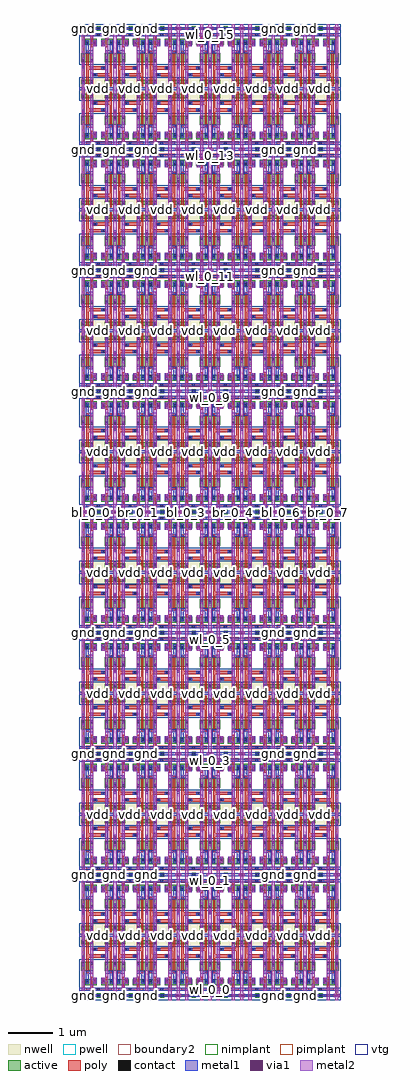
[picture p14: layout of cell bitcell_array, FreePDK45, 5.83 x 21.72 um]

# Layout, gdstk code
import gdstk
lib = gdstk.Library(unit=1e-6, precision=5e-10)
def R(c, l, rs):  # rectangles x0, y0, x1, y1
    for r in rs: c.add(gdstk.rectangle(r[:2], r[2:], *l))
def A(c, l, x, y, w, h, nx, ny, dx, dy):  # array of equal rectangles
    R(c, l, [(x+i*dx, y+j*dy, x+i*dx+w, y+j*dy+h) for i in range(nx) for j in range(ny)])
active = (1, 0)
pwell = (2, 0)
nwell = (3, 0)
nimplant = (4, 0)
pimplant = (5, 0)
vtg = (6, 0)
poly = (9, 0)
contact = (10, 0)
metal1 = (11, 0)
via1 = (12, 0)
metal2 = (13, 0)
boundary2 = (239, 0)

cell_1rw = lib.new_cell('cell_1rw')
R(cell_1rw, active, [(0.3025,-0.045,0.3925,0.045), (0.3025,-0.045,0.3925,0.045), (0.045,0.2275,0.12,0.3625), (0.045,0.2275,0.12,0.3625), (0.045,0.2275,0.305,0.3625), (0.23,0.2275,0.305,0.3625), (0.23,0.2275,0.305,0.3625), (0.4,0.2275,0.475,0.3625), (0.4,0.2275,0.475,0.3625), (0.4,0.2275,0.66,0.3625), (0.585,0.2275,0.66,0.3625), (0.585,0.2275,0.66,0.3625), (0.045,0.2875,0.12,0.3625), (0.23,0.2875,0.305,0.3625), (0.4,0.2875,0.475,0.3625), (0.585,0.2875,0.66,0.3625), (-0.04,0.5475,0.225,0.7525), (-0.035,0.5475,0.04,0.7525), (-0.035,0.5475,0.04,0.7525), (0.15,0.5475,0.225,0.7525), (0.15,0.5475,0.225,0.7525), (0.48,0.5475,0.555,0.7525), (0.48,0.5475,0.555,0.7525), (0.48,0.5475,0.745,0.7525), (0.665,0.5475,0.74,0.7525), (0.665,0.5475,0.74,0.7525), (-0.035,0.6775,0.04,0.7525), (0.15,0.6775,0.225,0.7525), (0.48,0.6775,0.555,0.7525), (0.665,0.6775,0.74,0.7525), (-0.04,1.1425,0.225,1.2325), (-0.04,1.1425,0.04,1.2175), (-0.035,1.1425,0.04,1.2325), (-0.035,1.1425,0.04,1.2325), (0.15,1.1425,0.225,1.2175), (0.15,1.1425,0.225,1.2325), (0.15,1.1425,0.225,1.2325), (0.48,1.1425,0.555,1.2175), (0.48,1.1425,0.555,1.2325), (0.48,1.1425,0.555,1.2325), (0.48,1.1425,0.745,1.2325), (0.665,1.1425,0.74,1.2325), (0.665,1.1425,0.74,1.2325), (0.665,1.1425,0.745,1.2175), (0.3025,1.3,0.3925,1.39), (0.3025,1.3,0.3925,1.39)])
R(cell_1rw, pwell, [(-0.095,-0.1,0.8,0.8075), (0.2475,-0.1,0.4475,0.1), (0.2475,-0.1,0.4475,0.1), (-0.01,0.1725,0.36,0.4175), (0.345,0.1725,0.715,0.4175), (-0.09,0.4925,0.28,0.8075), (0.425,0.4925,0.795,0.8075)])
R(cell_1rw, nwell, [(-0.095,1.0875,0.8,1.445), (-0.09,1.0875,0.28,1.2875), (0.425,1.0875,0.795,1.2875), (0.2475,1.245,0.4475,1.445), (0.2475,1.245,0.4475,1.445)])
R(cell_1rw, nimplant, [(0.045,0.2275,0.305,0.3625), (0.4,0.2275,0.66,0.3625), (-0.035,0.5475,0.225,0.7525), (0.48,0.5475,0.74,0.7525), (0.3025,1.3,0.3925,1.39), (0.3025,1.3,0.3925,1.39)])
R(cell_1rw, pimplant, [(0.3025,-0.045,0.3925,0.045), (-0.035,1.1425,0.225,1.2325), (0.48,1.1425,0.74,1.2325)])
R(cell_1rw, vtg, [(-0.09,-0.1,0.795,0.8075), (-0.01,0.1725,0.36,0.4175), (0.345,0.1725,0.715,0.4175), (-0.09,0.4925,0.28,0.8075), (0.425,0.4925,0.795,0.8075), (-0.09,1.0875,0.795,1.445), (-0.09,1.0875,0.28,1.2875), (0.425,1.0875,0.795,1.2875)])
R(cell_1rw, poly, [(0.07,0.1025,0.635,0.1775), (0.2975,0.1025,0.3725,0.1775), (0.15,0.1725,0.2,0.4175), (0.15,0.1725,0.2,0.2275), (0.505,0.1725,0.555,0.4175), (0.505,0.1725,0.555,0.2275), (0.15,0.3625,0.2,0.4175), (0.505,0.3625,0.555,0.4175), (0.07,0.4925,0.12,0.5475), (0.07,0.4925,0.12,0.8075), (0.585,0.4925,0.635,0.5475), (0.585,0.4925,0.635,0.8075), (0.07,0.7525,0.12,0.8075), (0.585,0.7525,0.635,0.8075), (0.07,0.8075,0.12,1.0875), (0.07,0.8075,0.12,1.0875), (0.585,0.8075,0.635,1.0875), (0.585,0.8075,0.635,1.0875), (0.07,0.8425,0.5025,0.9175), (0.4275,0.8425,0.5025,0.9175), (0.4275,0.8425,0.5025,0.9175), (0.2025,0.9925,0.635,1.0675), (0.2025,0.9925,0.2775,1.0675), (0.2025,0.9925,0.2775,1.0675), (0.07,1.0875,0.12,1.1425), (0.07,1.0875,0.12,1.2875), (0.585,1.0875,0.635,1.1425), (0.585,1.0875,0.635,1.2875), (0.07,1.2325,0.12,1.2875), (0.585,1.2325,0.635,1.2875)])
R(cell_1rw, contact, [(0.315,-0.0325,0.38,0.0325), (0.3025,0.1075,0.3675,0.1725), (0.05,0.2925,0.115,0.3575), (0.235,0.2925,0.3,0.3575), (0.405,0.2925,0.47,0.3575), (0.59,0.2925,0.655,0.3575), (-0.0325,0.6825,0.0325,0.7475), (0.155,0.6825,0.22,0.7475), (0.485,0.6825,0.55,0.7475), (0.6725,0.6825,0.7375,0.7475), (0.4325,0.8475,0.4975,0.9125), (0.4325,0.8475,0.4975,0.9125), (0.2075,0.9975,0.2725,1.0625), (0.2075,0.9975,0.2725,1.0625), (-0.0325,1.1475,0.0325,1.2125), (0.155,1.1475,0.22,1.2125), (0.485,1.1475,0.55,1.2125), (0.6725,1.1475,0.7375,1.2125), (0.315,1.3125,0.38,1.3775)])
R(cell_1rw, metal1, [(-0.09,-0.0325,0.795,0.0325), (-0.0675,-0.0325,0.0675,0.0325), (-0.0675,-0.0325,0.0675,0.0325), (0.285,-0.0325,0.42,0.0325), (0.285,-0.0325,0.42,0.0325), (0.6375,-0.0325,0.7725,0.0325), (0.6375,-0.0325,0.7725,0.0325), (0.6375,-0.0325,0.7725,0.0325), (0.6375,-0.0325,0.7725,0.0325), (-0.09,0.1075,0.795,0.1725), (-0.09,0.1075,0.795,0.1725), (0.2675,0.1075,0.4025,0.1725), (-0.085,0.11,-0.0325,0.1725), (0.62,0.11,0.6725,0.1725), (0.05,0.2575,0.12,0.5475), (0.05,0.2575,0.115,0.3925), (0.2225,0.2575,0.2875,0.3925), (0.235,0.2575,0.3,0.3925), (0.405,0.2575,0.47,0.3925), (0.4175,0.2575,0.4825,0.3925), (0.59,0.2575,0.66,0.5475), (0.59,0.2575,0.655,0.3925), (0.05,0.4825,0.22,0.5475), (0.155,0.4825,0.22,1.2225), (0.485,0.4825,0.55,1.1125), (0.485,0.4825,0.66,0.5475), (-0.035,0.6475,0.035,0.7825), (-0.035,0.6475,0.035,0.7825), (-0.03,0.6475,0.035,0.7825), (0.155,0.6475,0.22,0.7825), (0.485,0.6475,0.55,0.7825), (0.67,0.6475,0.74,0.7825), (0.67,0.6475,0.74,0.7825), (0.67,0.6475,0.74,0.7825), (0.67,0.6475,0.74,0.7825), (0.67,0.6475,0.74,0.7825), (0.67,0.6475,0.74,0.7825), (0.67,0.6475,0.735,0.7825), (-0.0325,0.75,0.0325,0.885), (-0.0325,0.75,0.0325,0.885), (-0.0325,0.75,0.0325,0.885), (-0.0325,0.75,0.0325,0.885), (-0.0325,0.75,0.0325,0.885), (-0.0325,0.75,0.0325,0.885), (0.6725,0.75,0.7375,0.885), (0.6725,0.75,0.7375,0.885), (0.6725,0.75,0.7375,0.885), (0.6725,0.75,0.7375,0.885), (0.6725,0.75,0.7375,0.885), (0.6725,0.75,0.7375,0.885), (0.6725,0.75,0.7375,0.885), (0.6725,0.75,0.7375,0.885), (0.6725,0.75,0.7375,0.885), (0.6725,0.75,0.7375,0.885), (0.6725,0.75,0.7375,0.885), (0.6725,0.75,0.7375,0.885), (0.6725,0.75,0.7375,0.885), (0.6725,0.75,0.7375,0.885), (0.6725,0.75,0.7375,0.885), (0.6725,0.75,0.7375,0.885), (0.6725,0.75,0.7375,0.885), (0.6725,0.75,0.7375,0.885), (0.6725,0.75,0.7375,0.885), (0.6725,0.75,0.7375,0.885), (0.6725,0.75,0.7375,0.885), (0.6725,0.75,0.7375,0.885), (0.6725,0.75,0.7375,0.885), (0.6725,0.75,0.7375,0.885), (0.3975,0.8475,0.5325,0.9125), (0.3975,0.8475,0.5325,0.9125), (0.1725,0.9975,0.3075,1.0625), (0.1725,0.9975,0.3075,1.0625), (-0.035,1.1125,0.035,1.3125), (-0.03,1.1125,0.035,1.2475), (0.155,1.1125,0.22,1.2475), (0.485,1.1125,0.55,1.2475), (0.67,1.1125,0.74,1.3125), (0.67,1.1125,0.74,1.3125), (0.67,1.1125,0.735,1.2475), (-0.09,1.3125,0.795,1.3775)])
R(cell_1rw, via1, [(-0.0325,-0.0325,0.0325,0.0325), (-0.0325,-0.0325,0.0325,0.0325), (0.6725,-0.0325,0.7375,0.0325), (0.6725,-0.0325,0.7375,0.0325), (0.6725,-0.0325,0.7375,0.0325), (0.6725,-0.0325,0.7375,0.0325), (0.2225,0.2925,0.2875,0.3575), (0.4175,0.2925,0.4825,0.3575), (-0.0325,0.785,0.0325,0.85), (-0.0325,0.785,0.0325,0.85), (-0.0325,0.785,0.0325,0.85), (-0.0325,0.785,0.0325,0.85), (-0.0325,0.785,0.0325,0.85), (-0.0325,0.785,0.0325,0.85), (0.6725,0.785,0.7375,0.85), (0.6725,0.785,0.7375,0.85), (0.6725,0.785,0.7375,0.85), (0.6725,0.785,0.7375,0.85), (0.6725,0.785,0.7375,0.85), (0.6725,0.785,0.7375,0.85), (0.6725,0.785,0.7375,0.85), (0.6725,0.785,0.7375,0.85), (0.6725,0.785,0.7375,0.85), (0.6725,0.785,0.7375,0.85), (0.6725,0.785,0.7375,0.85), (0.6725,0.785,0.7375,0.85), (0.6725,0.785,0.7375,0.85), (0.6725,0.785,0.7375,0.85), (0.6725,0.785,0.7375,0.85), (0.6725,0.785,0.7375,0.85), (0.6725,0.785,0.7375,0.85), (0.6725,0.785,0.7375,0.85), (0.6725,0.785,0.7375,0.85), (0.6725,0.785,0.7375,0.85), (0.6725,0.785,0.7375,0.85), (0.6725,0.785,0.7375,0.85), (0.6725,0.785,0.7375,0.85), (0.6725,0.785,0.7375,0.85), (0.315,1.3125,0.38,1.3775)])
R(cell_1rw, metal2, [(-0.035,-0.1,0.035,1.445), (0.15,-0.1,0.22,1.445), (0.15,-0.1,0.22,1.445), (0.485,-0.1,0.555,1.445), (0.485,-0.1,0.555,1.445), (0.67,-0.1,0.74,1.445), (-0.0675,-0.035,0.0675,0.035), (-0.0675,-0.035,0.0675,0.035), (-0.0675,-0.035,0.0675,0.035), (0.6375,-0.035,0.7725,0.035), (0.6375,-0.035,0.7725,0.035), (0.6375,-0.035,0.7725,0.035), (0.6375,-0.035,0.7725,0.035), (0.4925,-0.0325,0.55,0.0275), (0.67,-0.0325,0.74,1.3775), (-0.03,-0.03,0.03,0.0275), (0.1575,-0.025,0.2125,0.0275), (0.675,-0.025,0.735,0.0325), (0.22,0.2575,0.29,0.3925), (0.415,0.2575,0.485,0.3925), (-0.035,0.75,0.035,0.885), (-0.035,0.75,0.035,0.885), (-0.035,0.75,0.035,0.885), (-0.035,0.75,0.035,0.885), (-0.035,0.75,0.035,0.885), (-0.035,0.75,0.035,0.885), (0.67,0.75,0.74,0.885), (0.67,0.75,0.74,0.885), (0.67,0.75,0.74,0.885), (0.67,0.75,0.74,0.885), (0.67,0.75,0.74,0.885), (0.67,0.75,0.74,0.885), (0.67,0.75,0.74,0.885), (0.67,0.75,0.74,0.885), (0.67,0.75,0.74,0.885), (0.67,0.75,0.74,0.885), (0.67,0.75,0.74,0.885), (0.67,0.75,0.74,0.885), (0.67,0.75,0.74,0.885), (0.67,0.75,0.74,0.885), (0.67,0.75,0.74,0.885), (0.67,0.75,0.74,0.885), (0.67,0.75,0.74,0.885), (0.67,0.75,0.74,0.885), (0.67,0.75,0.74,0.885), (0.67,0.75,0.74,0.885), (0.67,0.75,0.74,0.885), (0.67,0.75,0.74,0.885), (0.67,0.75,0.74,0.885), (0.67,0.75,0.74,0.885), (0.3125,1.2775,0.3825,1.4125), (0.3125,1.2775,0.3825,1.4125)])
R(cell_1rw, boundary2, [(0,0,0.705,1.345)])
cell_1rw.add(gdstk.Label('Q_bar', (0.625,0.46), layer=11, texttype=0))
cell_1rw.add(gdstk.Label('Q', (0.0825,0.44), layer=11, texttype=0))
cell_1rw.add(gdstk.Label('wl', (-0.05,0.147), layer=11, texttype=0))
cell_1rw.add(gdstk.Label('bl', (0.19,0.003), layer=13, texttype=0))
cell_1rw.add(gdstk.Label('br', (0.52,0.003), layer=13, texttype=0))
cell_1rw.add(gdstk.Label('gnd', (-0.0475,0.015), layer=13, texttype=0))
cell_1rw.add(gdstk.Label('vdd', (0.368,1.355), layer=13, texttype=0))
cell_1rw.add(gdstk.Label('bl', (0.185,0.6725), layer=13, texttype=0))
cell_1rw.add(gdstk.Label('br', (0.52,0.6725), layer=13, texttype=0))
cell_1rw.add(gdstk.Label('wl', (0.3525,0.14), layer=11, texttype=0))
cell_1rw.add(gdstk.Label('vdd', (0.3475,1.345), layer=13, texttype=0))
cell_1rw.add(gdstk.Label('gnd', (0,0), layer=13, texttype=0))

bitcell_array = lib.new_cell('bitcell_array')
R(bitcell_array, metal1, [(0,0.1075,5.64,0.1725), (0,2.5175,5.64,2.5825), (0,2.7975,5.64,2.8625), (0,5.2075,5.64,5.2725), (0,5.4875,5.64,5.5525), (0,7.8975,5.64,7.9625), (0,8.1775,5.64,8.2425), (0,10.5875,5.64,10.6525), (0,10.8675,5.64,10.9325), (0,13.2775,5.64,13.3425), (0,13.5575,5.64,13.6225), (0,15.9675,5.64,16.0325), (0,16.2475,5.64,16.3125), (0,18.6575,5.64,18.7225), (0,18.9375,5.64,19.0025), (0,21.3475,5.64,21.4125)])
A(bitcell_array, metal2, -0.0675, -0.035, 0.135, 0.07, 8, 9, 0.705, 2.69)
A(bitcell_array, metal2, 0.3125, 9.3475, 0.07, 0.135, 8, 2, 0.705, 5.38)
A(bitcell_array, metal2, 0.3125, 17.4175, 0.07, 0.135, 8, 1, 0.705, 0)
R(bitcell_array, metal2, [(0.15,0,0.22,21.52), (0.485,0,0.555,21.52), (0.855,0,0.925,21.52), (1.19,0,1.26,21.52), (1.56,0,1.63,21.52), (1.895,0,1.965,21.52), (2.265,0,2.335,21.52), (2.6,0,2.67,21.52), (2.97,0,3.04,21.52), (3.305,0,3.375,21.52), (3.675,0,3.745,21.52), (4.01,0,4.08,21.52), (4.38,0,4.45,21.52), (4.715,0,4.785,21.52), (5.085,0,5.155,21.52), (5.42,0,5.49,21.52), (0.3125,1.2775,0.3825,1.4125), (0.3125,1.2775,0.3825,1.4125), (1.0175,1.2775,1.0875,1.4125), (1.0175,1.2775,1.0875,1.4125), (1.7225,1.2775,1.7925,1.4125), (1.7225,1.2775,1.7925,1.4125), (2.4275,1.2775,2.4975,1.4125), (2.4275,1.2775,2.4975,1.4125), (3.1325,1.2775,3.2025,1.4125), (3.1325,1.2775,3.2025,1.4125), (3.8375,1.2775,3.9075,1.4125), (3.8375,1.2775,3.9075,1.4125), (4.5425,1.2775,4.6125,1.4125), (4.5425,1.2775,4.6125,1.4125), (5.2475,1.2775,5.3175,1.4125), (5.2475,1.2775,5.3175,1.4125), (0.3125,3.9675,0.3825,4.1025), (0.3125,3.9675,0.3825,4.1025), (1.0175,3.9675,1.0875,4.1025), (1.0175,3.9675,1.0875,4.1025), (1.7225,3.9675,1.7925,4.1025), (1.7225,3.9675,1.7925,4.1025), (2.4275,3.9675,2.4975,4.1025), (2.4275,3.9675,2.4975,4.1025), (3.1325,3.9675,3.2025,4.1025), (3.1325,3.9675,3.2025,4.1025), (3.8375,3.9675,3.9075,4.1025), (3.8375,3.9675,3.9075,4.1025), (4.5425,3.9675,4.6125,4.1025), (4.5425,3.9675,4.6125,4.1025), (5.2475,3.9675,5.3175,4.1025), (5.2475,3.9675,5.3175,4.1025), (0.3125,6.6575,0.3825,6.7925), (0.3125,6.6575,0.3825,6.7925), (1.0175,6.6575,1.0875,6.7925), (1.0175,6.6575,1.0875,6.7925), (1.7225,6.6575,1.7925,6.7925), (1.7225,6.6575,1.7925,6.7925), (2.4275,6.6575,2.4975,6.7925), (2.4275,6.6575,2.4975,6.7925), (3.1325,6.6575,3.2025,6.7925), (3.1325,6.6575,3.2025,6.7925), (3.8375,6.6575,3.9075,6.7925), (3.8375,6.6575,3.9075,6.7925), (4.5425,6.6575,4.6125,6.7925), (4.5425,6.6575,4.6125,6.7925), (5.2475,6.6575,5.3175,6.7925), (5.2475,6.6575,5.3175,6.7925), (0.3125,12.0375,0.3825,12.1725), (0.3125,12.0375,0.3825,12.1725), (1.0175,12.0375,1.0875,12.1725), (1.0175,12.0375,1.0875,12.1725), (1.7225,12.0375,1.7925,12.1725), (1.7225,12.0375,1.7925,12.1725), (2.4275,12.0375,2.4975,12.1725), (2.4275,12.0375,2.4975,12.1725), (3.1325,12.0375,3.2025,12.1725), (3.1325,12.0375,3.2025,12.1725), (3.8375,12.0375,3.9075,12.1725), (3.8375,12.0375,3.9075,12.1725), (4.5425,12.0375,4.6125,12.1725), (4.5425,12.0375,4.6125,12.1725), (5.2475,12.0375,5.3175,12.1725), (5.2475,12.0375,5.3175,12.1725), (0.3125,20.1075,0.3825,20.2425), (0.3125,20.1075,0.3825,20.2425), (1.0175,20.1075,1.0875,20.2425), (1.0175,20.1075,1.0875,20.2425), (1.7225,20.1075,1.7925,20.2425), (1.7225,20.1075,1.7925,20.2425), (2.4275,20.1075,2.4975,20.2425), (2.4275,20.1075,2.4975,20.2425), (3.1325,20.1075,3.2025,20.2425), (3.1325,20.1075,3.2025,20.2425), (3.8375,20.1075,3.9075,20.2425), (3.8375,20.1075,3.9075,20.2425), (4.5425,20.1075,4.6125,20.2425), (4.5425,20.1075,4.6125,20.2425), (5.2475,20.1075,5.3175,20.2425), (5.2475,20.1075,5.3175,20.2425)])
R(bitcell_array, boundary2, [(0,0,5.64,21.52)])
bitcell_array.add(gdstk.Reference(cell_1rw, (0,0)))
bitcell_array.add(gdstk.Reference(cell_1rw, (0,2.69), x_reflection=True))
bitcell_array.add(gdstk.Reference(cell_1rw, (0,2.69)))
bitcell_array.add(gdstk.Reference(cell_1rw, (0,5.38), x_reflection=True))
bitcell_array.add(gdstk.Reference(cell_1rw, (0,5.38)))
bitcell_array.add(gdstk.Reference(cell_1rw, (0,8.07), x_reflection=True))
bitcell_array.add(gdstk.Reference(cell_1rw, (0,8.07)))
bitcell_array.add(gdstk.Reference(cell_1rw, (0,10.76), x_reflection=True))
bitcell_array.add(gdstk.Reference(cell_1rw, (0,10.76)))
bitcell_array.add(gdstk.Reference(cell_1rw, (0,13.45), x_reflection=True))
bitcell_array.add(gdstk.Reference(cell_1rw, (0,13.45)))
bitcell_array.add(gdstk.Reference(cell_1rw, (0,16.14), x_reflection=True))
bitcell_array.add(gdstk.Reference(cell_1rw, (0,16.14)))
bitcell_array.add(gdstk.Reference(cell_1rw, (0,18.83), x_reflection=True))
bitcell_array.add(gdstk.Reference(cell_1rw, (0,18.83)))
bitcell_array.add(gdstk.Reference(cell_1rw, (0,21.52), x_reflection=True))
bitcell_array.add(gdstk.Reference(cell_1rw, (0.705,0)))
bitcell_array.add(gdstk.Reference(cell_1rw, (0.705,2.69), x_reflection=True))
bitcell_array.add(gdstk.Reference(cell_1rw, (0.705,2.69)))
bitcell_array.add(gdstk.Reference(cell_1rw, (0.705,5.38), x_reflection=True))
bitcell_array.add(gdstk.Reference(cell_1rw, (0.705,5.38)))
bitcell_array.add(gdstk.Reference(cell_1rw, (0.705,8.07), x_reflection=True))
bitcell_array.add(gdstk.Reference(cell_1rw, (0.705,8.07)))
bitcell_array.add(gdstk.Reference(cell_1rw, (0.705,10.76), x_reflection=True))
bitcell_array.add(gdstk.Reference(cell_1rw, (0.705,10.76)))
bitcell_array.add(gdstk.Reference(cell_1rw, (0.705,13.45), x_reflection=True))
bitcell_array.add(gdstk.Reference(cell_1rw, (0.705,13.45)))
bitcell_array.add(gdstk.Reference(cell_1rw, (0.705,16.14), x_reflection=True))
bitcell_array.add(gdstk.Reference(cell_1rw, (0.705,16.14)))
bitcell_array.add(gdstk.Reference(cell_1rw, (0.705,18.83), x_reflection=True))
bitcell_array.add(gdstk.Reference(cell_1rw, (0.705,18.83)))
bitcell_array.add(gdstk.Reference(cell_1rw, (0.705,21.52), x_reflection=True))
bitcell_array.add(gdstk.Reference(cell_1rw, (1.41,0)))
bitcell_array.add(gdstk.Reference(cell_1rw, (1.41,2.69), x_reflection=True))
bitcell_array.add(gdstk.Reference(cell_1rw, (1.41,2.69)))
bitcell_array.add(gdstk.Reference(cell_1rw, (1.41,5.38), x_reflection=True))
bitcell_array.add(gdstk.Reference(cell_1rw, (1.41,5.38)))
bitcell_array.add(gdstk.Reference(cell_1rw, (1.41,8.07), x_reflection=True))
bitcell_array.add(gdstk.Reference(cell_1rw, (1.41,8.07)))
bitcell_array.add(gdstk.Reference(cell_1rw, (1.41,10.76), x_reflection=True))
bitcell_array.add(gdstk.Reference(cell_1rw, (1.41,10.76)))
bitcell_array.add(gdstk.Reference(cell_1rw, (1.41,13.45), x_reflection=True))
bitcell_array.add(gdstk.Reference(cell_1rw, (1.41,13.45)))
bitcell_array.add(gdstk.Reference(cell_1rw, (1.41,16.14), x_reflection=True))
bitcell_array.add(gdstk.Reference(cell_1rw, (1.41,16.14)))
bitcell_array.add(gdstk.Reference(cell_1rw, (1.41,18.83), x_reflection=True))
bitcell_array.add(gdstk.Reference(cell_1rw, (1.41,18.83)))
bitcell_array.add(gdstk.Reference(cell_1rw, (1.41,21.52), x_reflection=True))
bitcell_array.add(gdstk.Reference(cell_1rw, (2.115,0)))
bitcell_array.add(gdstk.Reference(cell_1rw, (2.115,2.69), x_reflection=True))
bitcell_array.add(gdstk.Reference(cell_1rw, (2.115,2.69)))
bitcell_array.add(gdstk.Reference(cell_1rw, (2.115,5.38), x_reflection=True))
bitcell_array.add(gdstk.Reference(cell_1rw, (2.115,5.38)))
bitcell_array.add(gdstk.Reference(cell_1rw, (2.115,8.07), x_reflection=True))
bitcell_array.add(gdstk.Reference(cell_1rw, (2.115,8.07)))
bitcell_array.add(gdstk.Reference(cell_1rw, (2.115,10.76), x_reflection=True))
bitcell_array.add(gdstk.Reference(cell_1rw, (2.115,10.76)))
bitcell_array.add(gdstk.Reference(cell_1rw, (2.115,13.45), x_reflection=True))
bitcell_array.add(gdstk.Reference(cell_1rw, (2.115,13.45)))
bitcell_array.add(gdstk.Reference(cell_1rw, (2.115,16.14), x_reflection=True))
bitcell_array.add(gdstk.Reference(cell_1rw, (2.115,16.14)))
bitcell_array.add(gdstk.Reference(cell_1rw, (2.115,18.83), x_reflection=True))
bitcell_array.add(gdstk.Reference(cell_1rw, (2.115,18.83)))
bitcell_array.add(gdstk.Reference(cell_1rw, (2.115,21.52), x_reflection=True))
bitcell_array.add(gdstk.Reference(cell_1rw, (2.82,0)))
bitcell_array.add(gdstk.Reference(cell_1rw, (2.82,2.69), x_reflection=True))
bitcell_array.add(gdstk.Reference(cell_1rw, (2.82,2.69)))
bitcell_array.add(gdstk.Reference(cell_1rw, (2.82,5.38), x_reflection=True))
bitcell_array.add(gdstk.Reference(cell_1rw, (2.82,5.38)))
bitcell_array.add(gdstk.Reference(cell_1rw, (2.82,8.07), x_reflection=True))
bitcell_array.add(gdstk.Reference(cell_1rw, (2.82,8.07)))
bitcell_array.add(gdstk.Reference(cell_1rw, (2.82,10.76), x_reflection=True))
bitcell_array.add(gdstk.Reference(cell_1rw, (2.82,10.76)))
bitcell_array.add(gdstk.Reference(cell_1rw, (2.82,13.45), x_reflection=True))
bitcell_array.add(gdstk.Reference(cell_1rw, (2.82,13.45)))
bitcell_array.add(gdstk.Reference(cell_1rw, (2.82,16.14), x_reflection=True))
bitcell_array.add(gdstk.Reference(cell_1rw, (2.82,16.14)))
bitcell_array.add(gdstk.Reference(cell_1rw, (2.82,18.83), x_reflection=True))
bitcell_array.add(gdstk.Reference(cell_1rw, (2.82,18.83)))
bitcell_array.add(gdstk.Reference(cell_1rw, (2.82,21.52), x_reflection=True))
bitcell_array.add(gdstk.Reference(cell_1rw, (3.525,0)))
bitcell_array.add(gdstk.Reference(cell_1rw, (3.525,2.69), x_reflection=True))
bitcell_array.add(gdstk.Reference(cell_1rw, (3.525,2.69)))
bitcell_array.add(gdstk.Reference(cell_1rw, (3.525,5.38), x_reflection=True))
bitcell_array.add(gdstk.Reference(cell_1rw, (3.525,5.38)))
bitcell_array.add(gdstk.Reference(cell_1rw, (3.525,8.07), x_reflection=True))
bitcell_array.add(gdstk.Reference(cell_1rw, (3.525,8.07)))
bitcell_array.add(gdstk.Reference(cell_1rw, (3.525,10.76), x_reflection=True))
bitcell_array.add(gdstk.Reference(cell_1rw, (3.525,10.76)))
bitcell_array.add(gdstk.Reference(cell_1rw, (3.525,13.45), x_reflection=True))
bitcell_array.add(gdstk.Reference(cell_1rw, (3.525,13.45)))
bitcell_array.add(gdstk.Reference(cell_1rw, (3.525,16.14), x_reflection=True))
bitcell_array.add(gdstk.Reference(cell_1rw, (3.525,16.14)))
bitcell_array.add(gdstk.Reference(cell_1rw, (3.525,18.83), x_reflection=True))
bitcell_array.add(gdstk.Reference(cell_1rw, (3.525,18.83)))
bitcell_array.add(gdstk.Reference(cell_1rw, (3.525,21.52), x_reflection=True))
bitcell_array.add(gdstk.Reference(cell_1rw, (4.23,0)))
bitcell_array.add(gdstk.Reference(cell_1rw, (4.23,2.69), x_reflection=True))
bitcell_array.add(gdstk.Reference(cell_1rw, (4.23,2.69)))
bitcell_array.add(gdstk.Reference(cell_1rw, (4.23,5.38), x_reflection=True))
bitcell_array.add(gdstk.Reference(cell_1rw, (4.23,5.38)))
bitcell_array.add(gdstk.Reference(cell_1rw, (4.23,8.07), x_reflection=True))
bitcell_array.add(gdstk.Reference(cell_1rw, (4.23,8.07)))
bitcell_array.add(gdstk.Reference(cell_1rw, (4.23,10.76), x_reflection=True))
bitcell_array.add(gdstk.Reference(cell_1rw, (4.23,10.76)))
bitcell_array.add(gdstk.Reference(cell_1rw, (4.23,13.45), x_reflection=True))
bitcell_array.add(gdstk.Reference(cell_1rw, (4.23,13.45)))
bitcell_array.add(gdstk.Reference(cell_1rw, (4.23,16.14), x_reflection=True))
bitcell_array.add(gdstk.Reference(cell_1rw, (4.23,16.14)))
bitcell_array.add(gdstk.Reference(cell_1rw, (4.23,18.83), x_reflection=True))
bitcell_array.add(gdstk.Reference(cell_1rw, (4.23,18.83)))
bitcell_array.add(gdstk.Reference(cell_1rw, (4.23,21.52), x_reflection=True))
bitcell_array.add(gdstk.Reference(cell_1rw, (4.935,0)))
bitcell_array.add(gdstk.Reference(cell_1rw, (4.935,2.69), x_reflection=True))
bitcell_array.add(gdstk.Reference(cell_1rw, (4.935,2.69)))
bitcell_array.add(gdstk.Reference(cell_1rw, (4.935,5.38), x_reflection=True))
bitcell_array.add(gdstk.Reference(cell_1rw, (4.935,5.38)))
bitcell_array.add(gdstk.Reference(cell_1rw, (4.935,8.07), x_reflection=True))
bitcell_array.add(gdstk.Reference(cell_1rw, (4.935,8.07)))
bitcell_array.add(gdstk.Reference(cell_1rw, (4.935,10.76), x_reflection=True))
bitcell_array.add(gdstk.Reference(cell_1rw, (4.935,10.76)))
bitcell_array.add(gdstk.Reference(cell_1rw, (4.935,13.45), x_reflection=True))
bitcell_array.add(gdstk.Reference(cell_1rw, (4.935,13.45)))
bitcell_array.add(gdstk.Reference(cell_1rw, (4.935,16.14), x_reflection=True))
bitcell_array.add(gdstk.Reference(cell_1rw, (4.935,16.14)))
bitcell_array.add(gdstk.Reference(cell_1rw, (4.935,18.83), x_reflection=True))
bitcell_array.add(gdstk.Reference(cell_1rw, (4.935,18.83)))
bitcell_array.add(gdstk.Reference(cell_1rw, (4.935,21.52), x_reflection=True))
bitcell_array.add(gdstk.Label('bl_0_0', (0.185,10.76), layer=13, texttype=0))
bitcell_array.add(gdstk.Label('br_0_0', (0.52,10.76), layer=13, texttype=0))
bitcell_array.add(gdstk.Label('bl_0_1', (0.89,10.76), layer=13, texttype=0))
bitcell_array.add(gdstk.Label('br_0_1', (1.225,10.76), layer=13, texttype=0))
bitcell_array.add(gdstk.Label('bl_0_2', (1.595,10.76), layer=13, texttype=0))
bitcell_array.add(gdstk.Label('br_0_2', (1.93,10.76), layer=13, texttype=0))
bitcell_array.add(gdstk.Label('bl_0_3', (2.3,10.76), layer=13, texttype=0))
bitcell_array.add(gdstk.Label('br_0_3', (2.635,10.76), layer=13, texttype=0))
bitcell_array.add(gdstk.Label('bl_0_4', (3.005,10.76), layer=13, texttype=0))
bitcell_array.add(gdstk.Label('br_0_4', (3.34,10.76), layer=13, texttype=0))
bitcell_array.add(gdstk.Label('bl_0_5', (3.71,10.76), layer=13, texttype=0))
bitcell_array.add(gdstk.Label('br_0_5', (4.045,10.76), layer=13, texttype=0))
bitcell_array.add(gdstk.Label('bl_0_6', (4.415,10.76), layer=13, texttype=0))
bitcell_array.add(gdstk.Label('br_0_6', (4.75,10.76), layer=13, texttype=0))
bitcell_array.add(gdstk.Label('bl_0_7', (5.12,10.76), layer=13, texttype=0))
bitcell_array.add(gdstk.Label('br_0_7', (5.455,10.76), layer=13, texttype=0))
bitcell_array.add(gdstk.Label('wl_0_0', (2.82,0.14), layer=11, texttype=0))
bitcell_array.add(gdstk.Label('wl_0_1', (2.82,2.55), layer=11, texttype=0))
bitcell_array.add(gdstk.Label('wl_0_2', (2.82,2.83), layer=11, texttype=0))
bitcell_array.add(gdstk.Label('wl_0_3', (2.82,5.24), layer=11, texttype=0))
bitcell_array.add(gdstk.Label('wl_0_4', (2.82,5.52), layer=11, texttype=0))
bitcell_array.add(gdstk.Label('wl_0_5', (2.82,7.93), layer=11, texttype=0))
bitcell_array.add(gdstk.Label('wl_0_6', (2.82,8.21), layer=11, texttype=0))
bitcell_array.add(gdstk.Label('wl_0_7', (2.82,10.62), layer=11, texttype=0))
bitcell_array.add(gdstk.Label('wl_0_8', (2.82,10.9), layer=11, texttype=0))
bitcell_array.add(gdstk.Label('wl_0_9', (2.82,13.31), layer=11, texttype=0))
bitcell_array.add(gdstk.Label('wl_0_10', (2.82,13.59), layer=11, texttype=0))
bitcell_array.add(gdstk.Label('wl_0_11', (2.82,16), layer=11, texttype=0))
bitcell_array.add(gdstk.Label('wl_0_12', (2.82,16.28), layer=11, texttype=0))
bitcell_array.add(gdstk.Label('wl_0_13', (2.82,18.69), layer=11, texttype=0))
bitcell_array.add(gdstk.Label('wl_0_14', (2.82,18.97), layer=11, texttype=0))
bitcell_array.add(gdstk.Label('wl_0_15', (2.82,21.38), layer=11, texttype=0))
bitcell_array.add(gdstk.Label('vdd', (2.4625,12.105), layer=13, texttype=0))
bitcell_array.add(gdstk.Label('vdd', (2.4625,12.105), layer=13, texttype=0))
bitcell_array.add(gdstk.Label('vdd', (2.4625,4.035), layer=13, texttype=0))
bitcell_array.add(gdstk.Label('vdd', (2.4625,4.035), layer=13, texttype=0))
bitcell_array.add(gdstk.Label('vdd', (2.4625,9.415), layer=13, texttype=0))
bitcell_array.add(gdstk.Label('vdd', (0.3475,17.485), layer=13, texttype=0))
bitcell_array.add(gdstk.Label('vdd', (1.7575,20.175), layer=13, texttype=0))
bitcell_array.add(gdstk.Label('vdd', (1.7575,20.175), layer=13, texttype=0))
bitcell_array.add(gdstk.Label('vdd', (1.7575,9.415), layer=13, texttype=0))
bitcell_array.add(gdstk.Label('vdd', (1.7575,12.105), layer=13, texttype=0))
bitcell_array.add(gdstk.Label('vdd', (1.7575,12.105), layer=13, texttype=0))
bitcell_array.add(gdstk.Label('vdd', (5.2825,14.795), layer=13, texttype=0))
bitcell_array.add(gdstk.Label('vdd', (1.7575,6.725), layer=13, texttype=0))
bitcell_array.add(gdstk.Label('vdd', (1.7575,6.725), layer=13, texttype=0))
bitcell_array.add(gdstk.Label('vdd', (3.8725,1.345), layer=13, texttype=0))
bitcell_array.add(gdstk.Label('vdd', (3.8725,1.345), layer=13, texttype=0))
bitcell_array.add(gdstk.Label('vdd', (4.5775,6.725), layer=13, texttype=0))
bitcell_array.add(gdstk.Label('vdd', (4.5775,6.725), layer=13, texttype=0))
bitcell_array.add(gdstk.Label('vdd', (3.1675,17.485), layer=13, texttype=0))
bitcell_array.add(gdstk.Label('vdd', (1.0525,17.485), layer=13, texttype=0))
bitcell_array.add(gdstk.Label('vdd', (1.0525,12.105), layer=13, texttype=0))
bitcell_array.add(gdstk.Label('vdd', (1.0525,12.105), layer=13, texttype=0))
bitcell_array.add(gdstk.Label('vdd', (1.7575,4.035), layer=13, texttype=0))
bitcell_array.add(gdstk.Label('vdd', (1.7575,4.035), layer=13, texttype=0))
bitcell_array.add(gdstk.Label('vdd', (3.1675,9.415), layer=13, texttype=0))
bitcell_array.add(gdstk.Label('vdd', (3.8725,4.035), layer=13, texttype=0))
bitcell_array.add(gdstk.Label('vdd', (3.8725,4.035), layer=13, texttype=0))
bitcell_array.add(gdstk.Label('vdd', (3.8725,14.795), layer=13, texttype=0))
bitcell_array.add(gdstk.Label('vdd', (3.8725,20.175), layer=13, texttype=0))
bitcell_array.add(gdstk.Label('vdd', (3.8725,20.175), layer=13, texttype=0))
bitcell_array.add(gdstk.Label('vdd', (5.2825,20.175), layer=13, texttype=0))
bitcell_array.add(gdstk.Label('vdd', (5.2825,20.175), layer=13, texttype=0))
bitcell_array.add(gdstk.Label('vdd', (1.7575,1.345), layer=13, texttype=0))
bitcell_array.add(gdstk.Label('vdd', (1.7575,1.345), layer=13, texttype=0))
bitcell_array.add(gdstk.Label('vdd', (0.3475,1.345), layer=13, texttype=0))
bitcell_array.add(gdstk.Label('vdd', (0.3475,1.345), layer=13, texttype=0))
bitcell_array.add(gdstk.Label('vdd', (2.4625,17.485), layer=13, texttype=0))
bitcell_array.add(gdstk.Label('vdd', (0.3475,6.725), layer=13, texttype=0))
bitcell_array.add(gdstk.Label('vdd', (0.3475,6.725), layer=13, texttype=0))
bitcell_array.add(gdstk.Label('vdd', (0.3475,9.415), layer=13, texttype=0))
bitcell_array.add(gdstk.Label('vdd', (3.1675,20.175), layer=13, texttype=0))
bitcell_array.add(gdstk.Label('vdd', (3.1675,20.175), layer=13, texttype=0))
bitcell_array.add(gdstk.Label('vdd', (4.5775,4.035), layer=13, texttype=0))
bitcell_array.add(gdstk.Label('vdd', (4.5775,4.035), layer=13, texttype=0))
bitcell_array.add(gdstk.Label('vdd', (4.5775,12.105), layer=13, texttype=0))
bitcell_array.add(gdstk.Label('vdd', (3.8725,12.105), layer=13, texttype=0))
bitcell_array.add(gdstk.Label('vdd', (3.8725,12.105), layer=13, texttype=0))
bitcell_array.add(gdstk.Label('vdd', (4.5775,12.105), layer=13, texttype=0))
bitcell_array.add(gdstk.Label('vdd', (3.1675,14.795), layer=13, texttype=0))
bitcell_array.add(gdstk.Label('vdd', (4.5775,20.175), layer=13, texttype=0))
bitcell_array.add(gdstk.Label('vdd', (4.5775,20.175), layer=13, texttype=0))
bitcell_array.add(gdstk.Label('vdd', (2.4625,14.795), layer=13, texttype=0))
bitcell_array.add(gdstk.Label('vdd', (5.2825,9.415), layer=13, texttype=0))
bitcell_array.add(gdstk.Label('vdd', (3.8725,17.485), layer=13, texttype=0))
bitcell_array.add(gdstk.Label('vdd', (3.1675,6.725), layer=13, texttype=0))
bitcell_array.add(gdstk.Label('vdd', (3.1675,6.725), layer=13, texttype=0))
bitcell_array.add(gdstk.Label('vdd', (1.7575,17.485), layer=13, texttype=0))
bitcell_array.add(gdstk.Label('vdd', (1.0525,9.415), layer=13, texttype=0))
bitcell_array.add(gdstk.Label('vdd', (3.1675,1.345), layer=13, texttype=0))
bitcell_array.add(gdstk.Label('vdd', (3.1675,1.345), layer=13, texttype=0))
bitcell_array.add(gdstk.Label('vdd', (1.0525,14.795), layer=13, texttype=0))
bitcell_array.add(gdstk.Label('vdd', (3.1675,4.035), layer=13, texttype=0))
bitcell_array.add(gdstk.Label('vdd', (3.1675,4.035), layer=13, texttype=0))
bitcell_array.add(gdstk.Label('vdd', (1.0525,6.725), layer=13, texttype=0))
bitcell_array.add(gdstk.Label('vdd', (1.0525,6.725), layer=13, texttype=0))
bitcell_array.add(gdstk.Label('vdd', (0.3475,4.035), layer=13, texttype=0))
bitcell_array.add(gdstk.Label('vdd', (0.3475,4.035), layer=13, texttype=0))
bitcell_array.add(gdstk.Label('vdd', (5.2825,4.035), layer=13, texttype=0))
bitcell_array.add(gdstk.Label('vdd', (4.5775,14.795), layer=13, texttype=0))
bitcell_array.add(gdstk.Label('vdd', (4.5775,9.415), layer=13, texttype=0))
bitcell_array.add(gdstk.Label('vdd', (4.5775,1.345), layer=13, texttype=0))
bitcell_array.add(gdstk.Label('vdd', (4.5775,1.345), layer=13, texttype=0))
bitcell_array.add(gdstk.Label('vdd', (5.2825,1.345), layer=13, texttype=0))
bitcell_array.add(gdstk.Label('vdd', (5.2825,1.345), layer=13, texttype=0))
bitcell_array.add(gdstk.Label('vdd', (0.3475,14.795), layer=13, texttype=0))
bitcell_array.add(gdstk.Label('vdd', (0.3475,12.105), layer=13, texttype=0))
bitcell_array.add(gdstk.Label('vdd', (0.3475,12.105), layer=13, texttype=0))
bitcell_array.add(gdstk.Label('vdd', (2.4625,20.175), layer=13, texttype=0))
bitcell_array.add(gdstk.Label('vdd', (2.4625,20.175), layer=13, texttype=0))
bitcell_array.add(gdstk.Label('vdd', (3.8725,9.415), layer=13, texttype=0))
bitcell_array.add(gdstk.Label('vdd', (3.8725,6.725), layer=13, texttype=0))
bitcell_array.add(gdstk.Label('vdd', (3.8725,6.725), layer=13, texttype=0))
bitcell_array.add(gdstk.Label('vdd', (1.0525,1.345), layer=13, texttype=0))
bitcell_array.add(gdstk.Label('vdd', (1.0525,1.345), layer=13, texttype=0))
bitcell_array.add(gdstk.Label('vdd', (4.5775,17.485), layer=13, texttype=0))
bitcell_array.add(gdstk.Label('vdd', (0.3475,20.175), layer=13, texttype=0))
bitcell_array.add(gdstk.Label('vdd', (0.3475,20.175), layer=13, texttype=0))
bitcell_array.add(gdstk.Label('vdd', (5.2825,17.485), layer=13, texttype=0))
bitcell_array.add(gdstk.Label('vdd', (2.4625,1.345), layer=13, texttype=0))
bitcell_array.add(gdstk.Label('vdd', (2.4625,1.345), layer=13, texttype=0))
bitcell_array.add(gdstk.Label('vdd', (5.2825,6.725), layer=13, texttype=0))
bitcell_array.add(gdstk.Label('vdd', (5.2825,6.725), layer=13, texttype=0))
bitcell_array.add(gdstk.Label('vdd', (2.4625,6.725), layer=13, texttype=0))
bitcell_array.add(gdstk.Label('vdd', (2.4625,6.725), layer=13, texttype=0))
bitcell_array.add(gdstk.Label('vdd', (3.1675,12.105), layer=13, texttype=0))
bitcell_array.add(gdstk.Label('vdd', (3.1675,12.105), layer=13, texttype=0))
bitcell_array.add(gdstk.Label('vdd', (1.0525,20.175), layer=13, texttype=0))
bitcell_array.add(gdstk.Label('vdd', (1.0525,20.175), layer=13, texttype=0))
bitcell_array.add(gdstk.Label('vdd', (5.2825,12.105), layer=13, texttype=0))
bitcell_array.add(gdstk.Label('vdd', (5.2825,12.105), layer=13, texttype=0))
bitcell_array.add(gdstk.Label('vdd', (1.0525,4.035), layer=13, texttype=0))
bitcell_array.add(gdstk.Label('vdd', (1.0525,4.035), layer=13, texttype=0))
bitcell_array.add(gdstk.Label('vdd', (1.7575,14.795), layer=13, texttype=0))
bitcell_array.add(gdstk.Label('vdd', (5.2825,4.035), layer=13, texttype=0))
bitcell_array.add(gdstk.Label('gnd', (3.525,10.76), layer=13, texttype=0))
bitcell_array.add(gdstk.Label('gnd', (2.115,5.38), layer=13, texttype=0))
bitcell_array.add(gdstk.Label('gnd', (4.935,2.69), layer=13, texttype=0))
bitcell_array.add(gdstk.Label('gnd', (0,13.45), layer=13, texttype=0))
bitcell_array.add(gdstk.Label('gnd', (1.41,13.45), layer=13, texttype=0))
bitcell_array.add(gdstk.Label('gnd', (4.23,18.83), layer=13, texttype=0))
bitcell_array.add(gdstk.Label('gnd', (3.525,5.38), layer=13, texttype=0))
bitcell_array.add(gdstk.Label('gnd', (0.705,13.45), layer=13, texttype=0))
bitcell_array.add(gdstk.Label('gnd', (2.115,8.07), layer=13, texttype=0))
bitcell_array.add(gdstk.Label('gnd', (0.705,21.52), layer=13, texttype=0))
bitcell_array.add(gdstk.Label('gnd', (2.82,0), layer=13, texttype=0))
bitcell_array.add(gdstk.Label('gnd', (3.525,0), layer=13, texttype=0))
bitcell_array.add(gdstk.Label('gnd', (4.935,10.76), layer=13, texttype=0))
bitcell_array.add(gdstk.Label('gnd', (2.115,2.69), layer=13, texttype=0))
bitcell_array.add(gdstk.Label('gnd', (4.23,16.14), layer=13, texttype=0))
bitcell_array.add(gdstk.Label('gnd', (0.705,2.69), layer=13, texttype=0))
bitcell_array.add(gdstk.Label('gnd', (1.41,0), layer=13, texttype=0))
bitcell_array.add(gdstk.Label('gnd', (4.935,21.52), layer=13, texttype=0))
bitcell_array.add(gdstk.Label('gnd', (4.23,2.69), layer=13, texttype=0))
bitcell_array.add(gdstk.Label('gnd', (2.115,10.76), layer=13, texttype=0))
bitcell_array.add(gdstk.Label('gnd', (0,5.38), layer=13, texttype=0))
bitcell_array.add(gdstk.Label('gnd', (2.82,13.45), layer=13, texttype=0))
bitcell_array.add(gdstk.Label('gnd', (3.525,13.45), layer=13, texttype=0))
bitcell_array.add(gdstk.Label('gnd', (4.935,16.14), layer=13, texttype=0))
bitcell_array.add(gdstk.Label('gnd', (1.41,21.52), layer=13, texttype=0))
bitcell_array.add(gdstk.Label('gnd', (2.115,16.14), layer=13, texttype=0))
bitcell_array.add(gdstk.Label('gnd', (2.115,21.52), layer=13, texttype=0))
bitcell_array.add(gdstk.Label('gnd', (3.525,16.14), layer=13, texttype=0))
bitcell_array.add(gdstk.Label('gnd', (2.82,5.38), layer=13, texttype=0))
bitcell_array.add(gdstk.Label('gnd', (4.23,5.38), layer=13, texttype=0))
bitcell_array.add(gdstk.Label('gnd', (2.82,16.14), layer=13, texttype=0))
bitcell_array.add(gdstk.Label('gnd', (4.23,8.07), layer=13, texttype=0))
bitcell_array.add(gdstk.Label('gnd', (2.82,21.52), layer=13, texttype=0))
bitcell_array.add(gdstk.Label('gnd', (0.705,0), layer=13, texttype=0))
bitcell_array.add(gdstk.Label('gnd', (4.935,0), layer=13, texttype=0))
bitcell_array.add(gdstk.Label('gnd', (2.115,13.45), layer=13, texttype=0))
bitcell_array.add(gdstk.Label('gnd', (4.935,5.38), layer=13, texttype=0))
bitcell_array.add(gdstk.Label('gnd', (0,16.14), layer=13, texttype=0))
bitcell_array.add(gdstk.Label('gnd', (0.705,10.76), layer=13, texttype=0))
bitcell_array.add(gdstk.Label('gnd', (3.525,18.83), layer=13, texttype=0))
bitcell_array.add(gdstk.Label('gnd', (0,8.07), layer=13, texttype=0))
bitcell_array.add(gdstk.Label('gnd', (4.935,8.07), layer=13, texttype=0))
bitcell_array.add(gdstk.Label('gnd', (0,0), layer=13, texttype=0))
bitcell_array.add(gdstk.Label('gnd', (1.41,5.38), layer=13, texttype=0))
bitcell_array.add(gdstk.Label('gnd', (4.23,13.45), layer=13, texttype=0))
bitcell_array.add(gdstk.Label('gnd', (2.115,18.83), layer=13, texttype=0))
bitcell_array.add(gdstk.Label('gnd', (2.82,18.83), layer=13, texttype=0))
bitcell_array.add(gdstk.Label('gnd', (2.115,0), layer=13, texttype=0))
bitcell_array.add(gdstk.Label('gnd', (1.41,18.83), layer=13, texttype=0))
bitcell_array.add(gdstk.Label('gnd', (1.41,16.14), layer=13, texttype=0))
bitcell_array.add(gdstk.Label('gnd', (0.705,18.83), layer=13, texttype=0))
bitcell_array.add(gdstk.Label('gnd', (0,18.83), layer=13, texttype=0))
bitcell_array.add(gdstk.Label('gnd', (0.705,16.14), layer=13, texttype=0))
bitcell_array.add(gdstk.Label('gnd', (0,21.52), layer=13, texttype=0))
bitcell_array.add(gdstk.Label('gnd', (3.525,2.69), layer=13, texttype=0))
bitcell_array.add(gdstk.Label('gnd', (3.525,21.52), layer=13, texttype=0))
bitcell_array.add(gdstk.Label('gnd', (0,10.76), layer=13, texttype=0))
bitcell_array.add(gdstk.Label('gnd', (0,2.69), layer=13, texttype=0))
bitcell_array.add(gdstk.Label('gnd', (0.705,8.07), layer=13, texttype=0))
bitcell_array.add(gdstk.Label('gnd', (0.705,5.38), layer=13, texttype=0))
bitcell_array.add(gdstk.Label('gnd', (2.82,8.07), layer=13, texttype=0))
bitcell_array.add(gdstk.Label('gnd', (4.23,21.52), layer=13, texttype=0))
bitcell_array.add(gdstk.Label('gnd', (2.82,10.76), layer=13, texttype=0))
bitcell_array.add(gdstk.Label('gnd', (4.23,10.76), layer=13, texttype=0))
bitcell_array.add(gdstk.Label('gnd', (2.82,2.69), layer=13, texttype=0))
bitcell_array.add(gdstk.Label('gnd', (1.41,8.07), layer=13, texttype=0))
bitcell_array.add(gdstk.Label('gnd', (1.41,10.76), layer=13, texttype=0))
bitcell_array.add(gdstk.Label('gnd', (3.525,8.07), layer=13, texttype=0))
bitcell_array.add(gdstk.Label('gnd', (4.23,0), layer=13, texttype=0))
bitcell_array.add(gdstk.Label('gnd', (4.935,18.83), layer=13, texttype=0))
bitcell_array.add(gdstk.Label('gnd', (1.41,2.69), layer=13, texttype=0))
bitcell_array.add(gdstk.Label('gnd', (4.935,13.45), layer=13, texttype=0))

lib.write_gds('bitcell_array.gds')
